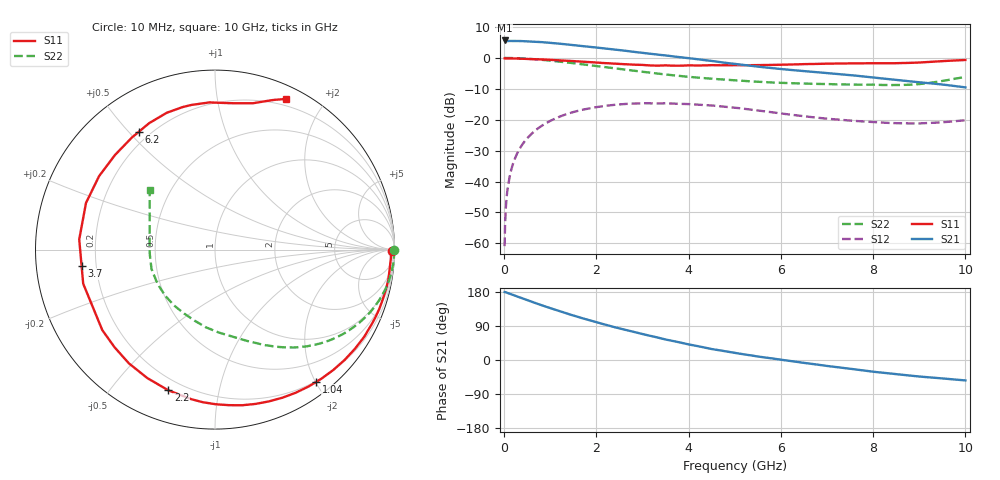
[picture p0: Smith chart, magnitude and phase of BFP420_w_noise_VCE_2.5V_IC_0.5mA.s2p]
! Infineon Technologies  Discrete & RF Semiconductors
! BFP420
! VCE =  2.5 V,  IC =  0.5 mA
! Common Emitter S-Parameters:  Jan 2016
# GHz  S  MA  R  50
!  f  S11  S21  S12  S22
! GHz  MAG  ANG  MAG  ANG  MAG  ANG  MAG  ANG
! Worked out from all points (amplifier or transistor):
!   233 points, 10 MHz to 10 GHz, reference 50 ohm
!   highest |S21| = 5.7 dB at 10 MHz (marker M1)
!   |S21| within 3 dB of that: start of sweep to 2.431 GHz
!   unconditionally stable (mu >= 1): 4.348 GHz to end of sweep
!   at 200 MHz: K = 0.01, MSG = 19.7 dB, |S12| = -33.9 dB
!   at 1.74 GHz: K = 0.28, MSG = 10.2 dB, |S12| = -16.6 dB
!   at 10 GHz: K = 1.58, MAG = 0.9 dB, |S12| = -20.2 dB
!   lowest NFmin = 0.68 dB at 900 MHz
!   S11 on the Smith chart (normalised r, x): 10 MHz: open; 1.04 GHz: 0.19, -2.01; 2.2 GHz: 0.14, -0.71; 3.7 GHz: 0.14, -0.06; 6.2 GHz: 0.16, +0.53; 10 GHz: 0.13, +1.56
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0.01  0.9859 -0.5  1.918 179.4  0.0009 95.7  0.9991 -0.1
0.02  0.9811 -1.0  1.857 179.5  0.002 89.4  0.9983 -0.5
0.03  0.9811 -1.5  1.859 179.0  0.0031 88.7  0.9983 -0.8
0.065  0.9806 -3.2  1.868 177.3  0.0067 87.9  0.9981 -1.8
0.13  0.9794 -6.5  1.882 174.5  0.0131 86.1  0.997 -3.6
0.22  0.9793 -11.0  1.88 170.4  0.0222 83.1  0.9934 -6.2
0.34  0.9745 -17.1  1.877 165.2  0.0343 79.4  0.986 -9.5
0.52  0.9659 -26.2  1.856 157.2  0.0521 73.5  0.9693 -14.3
0.78  0.9492 -39.4  1.81 145.9  0.0766 65.1  0.9372 -21.1
1.04  0.928 -52.5  1.746 135.3  0.0992 56.9  0.898 -27.3
1.4  0.8974 -70.5  1.646 121.1  0.1266 45.9  0.8394 -35.3
1.68  0.8715 -84.0  1.567 110.8  0.1441 37.7  0.7925 -40.9
2.2  0.8259 -108.4  1.42 93.0  0.1682 23.6  0.7093 -50.2
2.8  0.7805 -135.9  1.259 74.1  0.1828 8.4  0.6222 -59.8
3.4  0.7529 -161.3  1.116 57.1  0.184 -4.9  0.5503 -68.9
3.7  0.7488 -173.0  1.051 49.2  0.1818 -10.7  0.5205 -73.7
4.5  0.7643 160.1  0.894 28.9  0.1701 -24.8  0.4615 -87.7
5.1  0.7629 145.4  0.783 16.8  0.1539 -32.7  0.4299 -98.6
6.2  0.7818 122.9  0.641 -2.5  0.1212 -41.1  0.3901 -120.0
6.8  0.8008 112.6  0.585 -12.3  0.1078 -41.6  0.3797 -132.7
8.4  0.8194 84.9  0.449 -36.2  0.0884 -34.8  0.3641 -175.4
10  0.9267 64.9  0.334 -53.9  0.0982 -22.3  0.4943 137.4
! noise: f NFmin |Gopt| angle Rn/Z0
0.9  0.68  0.78  35  0.65
1.8  1.42  0.6  75  0.5
2.4  1.57  0.58  98  0.37
3  2.1  0.58  128  0.24
4  2.49  0.57  177  0.09
